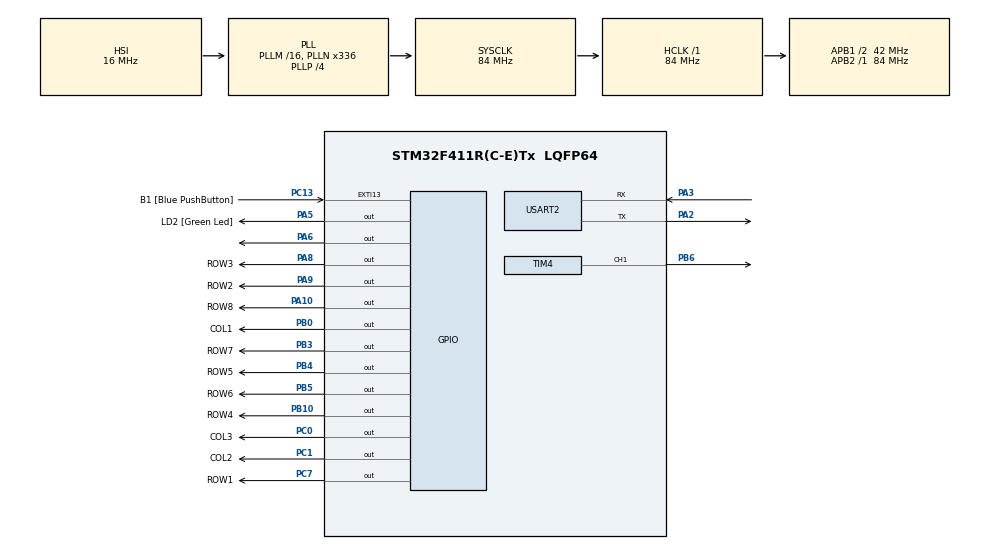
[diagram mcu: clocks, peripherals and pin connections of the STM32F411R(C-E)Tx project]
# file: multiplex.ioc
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Dma.Request0=TIM4_CH1
Dma.TIM4_CH1.0.Direction=DMA_MEMORY_TO_PERIPH
Dma.TIM4_CH1.0.FIFOMode=DMA_FIFOMODE_DISABLE
Dma.TIM4_CH1.0.Instance=DMA1_Stream0
Dma.TIM4_CH1.0.MemDataAlignment=DMA_MDATAALIGN_HALFWORD
Dma.TIM4_CH1.0.MemInc=DMA_MINC_ENABLE
Dma.TIM4_CH1.0.Mode=DMA_NORMAL
Dma.TIM4_CH1.0.PeriphDataAlignment=DMA_PDATAALIGN_HALFWORD
Dma.TIM4_CH1.0.PeriphInc=DMA_PINC_DISABLE
Dma.TIM4_CH1.0.Priority=DMA_PRIORITY_LOW
Mcu.Family=STM32F4
Mcu.Name=STM32F411R(C-E)Tx
Mcu.Package=LQFP64
NVIC.DMA1_Stream0_IRQn=true\:0\:0\:false\:false\:true\:false\:true\:true
NVIC.PriorityGroup=NVIC_PRIORITYGROUP_0
NVIC.TIM3_IRQn=true\:0\:0\:false\:false\:true\:true\:true\:true
NVIC.USART2_IRQn=true\:0\:0\:false\:false\:true\:true\:true\:true
PA10.GPIO_Label=ROW8
PA10.Signal=GPIO_Output
PA13.GPIO_Label=TMS
PA13.Signal=SYS_JTMS-SWDIO
PA14.GPIO_Label=TCK
PA14.Signal=SYS_JTCK-SWCLK
PA2.Mode=Asynchronous
PA2.Signal=USART2_TX
PA3.Mode=Asynchronous
PA3.Signal=USART2_RX
PA5.GPIO_Label=LD2 [Green Led]
PA5.Signal=GPIO_Output
PA6.Signal=GPIO_Output
PA8.GPIO_Label=ROW3
PA8.Signal=GPIO_Output
PA9.GPIO_Label=ROW2
PA9.Signal=GPIO_Output
PB0.GPIO_Label=COL1
PB0.Signal=GPIO_Output
PB10.GPIO_Label=ROW4
PB10.Signal=GPIO_Output
PB3.GPIO_Label=ROW7
PB3.Signal=GPIO_Output
PB4.GPIO_Label=ROW5
PB4.Signal=GPIO_Output
PB5.GPIO_Label=ROW6
PB5.Signal=GPIO_Output
PB6.Signal=S_TIM4_CH1
PC0.GPIO_Label=COL3
PC0.Signal=GPIO_Output
PC1.GPIO_Label=COL2
PC1.Signal=GPIO_Output
PC13-ANTI_TAMP.GPIO_Label=B1 [Blue PushButton]
PC13-ANTI_TAMP.GPIO_ModeDefaultEXTI=GPIO_MODE_IT_FALLING
PC13-ANTI_TAMP.Signal=GPXTI13
PC14-OSC32_IN.Signal=RCC_OSC32_IN
PC15-OSC32_OUT.Signal=RCC_OSC32_OUT
PC7.GPIO_Label=ROW1
PC7.Signal=GPIO_Output
PH0\ -\ OSC_IN.Signal=RCC_OSC_IN
PH1\ -\ OSC_OUT.Signal=RCC_OSC_OUT
ProjectManager.HeapSize=0x200
ProjectManager.StackSize=0x400
ProjectManager.TargetToolchain=STM32CubeIDE
RCC.48MHZClocksFreq_Value=84000000
RCC.AHBFreq_Value=84000000
RCC.APB1CLKDivider=RCC_HCLK_DIV2
RCC.APB1Freq_Value=42000000
RCC.APB1TimFreq_Value=84000000
RCC.APB2Freq_Value=84000000
RCC.APB2TimFreq_Value=84000000
RCC.CortexFreq_Value=84000000
RCC.FLatency-AdvancedSettings=FLASH_LATENCY_2
RCC.HCLKFreq_Value=84000000
RCC.HSE_VALUE=8000000
RCC.HSI_VALUE=16000000
RCC.LSE_VALUE=32768
RCC.PLLN=336
RCC.PLLP=RCC_PLLP_DIV4
RCC.SYSCLKFreq_VALUE=84000000
RCC.SYSCLKSource=RCC_SYSCLKSOURCE_PLLCLK
RCC.VCOOutputFreq_Value=336000000
SH.S_TIM4_CH1.0=TIM4_CH1,PWM Generation1 CH1
TIM3.AutoReloadPreload=TIM_AUTORELOAD_PRELOAD_ENABLE
TIM3.Prescaler=0
TIM4.Channel-PWM\ Generation1\ CH1=TIM_CHANNEL_1
TIM4.Period=105-1
USART2.VirtualMode=VM_ASYNC
VP_TIM3_VS_ClockSourceINT.Mode=Internal
VP_TIM4_VS_ClockSourceINT.Mode=Internal
board=NUCLEO-F411RE

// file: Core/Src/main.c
/* USER CODE BEGIN Header */
/**
  ******************************************************************************
  * @file           : main.c
  * @brief          : Main program body
  ******************************************************************************
  * @attention
  *
  * Copyright (c) 2026 STMicroelectronics.
  * All rights reserved.
  *
  * This software is licensed under terms that can be found in the LICENSE file
  * in the root directory of this software component.
  * If no LICENSE file comes with this software, it is provided AS-IS.
  *
  ******************************************************************************
  */
/* USER CODE END Header */
#include "main.h"

/* USER CODE BEGIN Includes */
#include <stdio.h>
#include <string.h>
/* USER CODE END Includes */

/* USER CODE BEGIN PD */
#define LED_NUM 64
#define PWM_DATA_SIZE 24*LED_NUM+50
#define RED 0
#define GREEN 1
#define BLUE 2
/* USER CODE END PD */

TIM_HandleTypeDef htim3;
TIM_HandleTypeDef htim4;
DMA_HandleTypeDef hdma_tim4_ch1;

UART_HandleTypeDef huart2;

/* USER CODE BEGIN PV */
uint8_t rx_byte;
uint8_t rx_buff[4] = {0x00, 0x00, 0x00, 0xFF};
uint16_t rx_idx = 0;

const uint16_t ROW_PIN[8] = {
  ROW8_Pin,
  ROW7_Pin,
  ROW6_Pin,
  ROW5_Pin,
  ROW4_Pin,
  ROW3_Pin,
  ROW2_Pin,
  ROW1_Pin,
};

const GPIO_TypeDef* ROW_PORT[8] = {
  ROW8_GPIO_Port,
  ROW7_GPIO_Port,
  ROW6_GPIO_Port,
  ROW5_GPIO_Port,
  ROW4_GPIO_Port,
  ROW3_GPIO_Port,
  ROW2_GPIO_Port,
  ROW1_GPIO_Port,
};

const uint16_t COL_PIN[3] = {
  COL1_Pin,
  COL2_Pin,
  COL3_Pin,
};

const GPIO_TypeDef* COL_PORT[3] = {
  COL1_GPIO_Port,
  COL2_GPIO_Port,
  COL3_GPIO_Port,
};

volatile uint8_t current_row = 0;

uint8_t frame_buff[3] = {
		0x00,
		0x00,
		0x00
};

uint16_t pwm_data[PWM_DATA_SIZE];

uint8_t LED_Data[LED_NUM][3];

uint8_t led_data_sent = 0;

uint8_t matrix[8] = {
	  0b00011000,
	  0b00100100,
	  0b00100100,
	  0b00100100,
	  0b00100100,
	  0b01100110,
	  0b10011001,
	  0b01100110,
};

/* USER CODE END PV */

void SystemClock_Config(void);
static void MX_GPIO_Init(void);
static void MX_DMA_Init(void);
static void MX_USART2_UART_Init(void);
static void MX_TIM3_Init(void);
static void MX_TIM4_Init(void);
/* USER CODE BEGIN PFP */
static inline uint8_t map(uint8_t value, uint8_t in_min, uint8_t in_max, uint8_t out_min, uint8_t out_max);
static inline uint8_t map_byte(uint8_t value, uint8_t in_min, uint8_t in_max, uint8_t out_min, uint8_t out_max);
void gauge(const uint8_t val, const uint8_t col, const uint8_t level_min,  const uint8_t level_max);
void matrix_display(const uint8_t setup[8][3]);
void send_ws();
void set_led(const uint8_t led_index, const uint8_t r, const uint8_t g, const uint8_t b, const uint8_t brightness);
void set_led_matrix64(const uint8_t data[8], const uint32_t colorHEX, const uint8_t brightness);
/* USER CODE END PFP */

int main(void)
{

  /* MCU Configuration--------------------------------------------------------*/

  /* Reset of all peripherals, Initializes the Flash interface and the Systick. */
  HAL_Init();

  /* Configure the system clock */
  SystemClock_Config();

  /* Initialize all configured peripherals */
  MX_GPIO_Init();
  MX_DMA_Init();
  MX_USART2_UART_Init();
  MX_TIM3_Init();
  MX_TIM4_Init();
  /* USER CODE BEGIN 2 */
  HAL_UART_Receive_IT(&huart2, &rx_byte, 1);
  HAL_TIM_Base_Start_IT(&htim3);

  HAL_GPIO_WritePin(COL1_GPIO_Port, COL1_Pin, 1);
  HAL_GPIO_WritePin(COL2_GPIO_Port, COL2_Pin, 1);
  HAL_GPIO_WritePin(COL3_GPIO_Port, COL3_Pin, 1);

  HAL_GPIO_WritePin(ROW1_GPIO_Port, ROW1_Pin, 1);
  HAL_GPIO_WritePin(ROW2_GPIO_Port, ROW2_Pin, 1);
  HAL_GPIO_WritePin(ROW3_GPIO_Port, ROW3_Pin, 1);
  HAL_GPIO_WritePin(ROW4_GPIO_Port, ROW4_Pin, 1);
  HAL_GPIO_WritePin(ROW5_GPIO_Port, ROW5_Pin, 1);
  HAL_GPIO_WritePin(ROW6_GPIO_Port, ROW6_Pin, 1);
  HAL_GPIO_WritePin(ROW7_GPIO_Port, ROW7_Pin, 1);
  HAL_GPIO_WritePin(ROW8_GPIO_Port, ROW8_Pin, 1);

//  set_led_matrix64(matrix, 0xff1493, 10);

//  send_ws();

  /* USER CODE END 2 */

  /* Infinite loop */
  /* USER CODE BEGIN WHILE */

  uint8_t buffer[16];

  memcpy(buffer, matrix, 8);

  memset(buffer + 8, 0x00, 8);

  int step = 0;
  while (1)
  {
	    for (int i = 0; i < 8; i++) {
	        matrix[i] = buffer[(step + i) % 16];
	    }

	    set_led_matrix64(matrix, 0xff1493, 10);
	    send_ws();
	    HAL_Delay(200);

	    step++;
	    if (step >= 16) step = 0;

    /* USER CODE END WHILE */

  }
}

void SystemClock_Config(void)
{
  RCC_OscInitTypeDef RCC_OscInitStruct = {0};
  RCC_ClkInitTypeDef RCC_ClkInitStruct = {0};

  /** Configure the main internal regulator output voltage
  */
  __HAL_RCC_PWR_CLK_ENABLE();
  __HAL_PWR_VOLTAGESCALING_CONFIG(PWR_REGULATOR_VOLTAGE_SCALE1);

  /** Initializes the RCC Oscillators according to the specified parameters
  * in the RCC_OscInitTypeDef structure.
  */
  RCC_OscInitStruct.OscillatorType = RCC_OSCILLATORTYPE_HSI;
  RCC_OscInitStruct.HSIState = RCC_HSI_ON;
  RCC_OscInitStruct.HSICalibrationValue = RCC_HSICALIBRATION_DEFAULT;
  RCC_OscInitStruct.PLL.PLLState = RCC_PLL_ON;
  RCC_OscInitStruct.PLL.PLLSource = RCC_PLLSOURCE_HSI;
  RCC_OscInitStruct.PLL.PLLM = 16;
  RCC_OscInitStruct.PLL.PLLN = 336;
  RCC_OscInitStruct.PLL.PLLP = RCC_PLLP_DIV4;
  RCC_OscInitStruct.PLL.PLLQ = 4;
  if (HAL_RCC_OscConfig(&RCC_OscInitStruct) != HAL_OK)
  {
    Error_Handler();
  }

  /** Initializes the CPU, AHB and APB buses clocks
  */
  RCC_ClkInitStruct.ClockType = RCC_CLOCKTYPE_HCLK|RCC_CLOCKTYPE_SYSCLK
                              |RCC_CLOCKTYPE_PCLK1|RCC_CLOCKTYPE_PCLK2;
  RCC_ClkInitStruct.SYSCLKSource = RCC_SYSCLKSOURCE_PLLCLK;
  RCC_ClkInitStruct.AHBCLKDivider = RCC_SYSCLK_DIV1;
  RCC_ClkInitStruct.APB1CLKDivider = RCC_HCLK_DIV2;
  RCC_ClkInitStruct.APB2CLKDivider = RCC_HCLK_DIV1;

  if (HAL_RCC_ClockConfig(&RCC_ClkInitStruct, FLASH_LATENCY_2) != HAL_OK)
  {
    Error_Handler();
  }
}

static void MX_TIM3_Init(void)
{

  TIM_ClockConfigTypeDef sClockSourceConfig = {0};
  TIM_MasterConfigTypeDef sMasterConfig = {0};

  htim3.Instance = TIM3;
  htim3.Init.Prescaler = 0;
  htim3.Init.CounterMode = TIM_COUNTERMODE_UP;
  htim3.Init.Period = 65535;
  htim3.Init.ClockDivision = TIM_CLOCKDIVISION_DIV1;
  htim3.Init.AutoReloadPreload = TIM_AUTORELOAD_PRELOAD_ENABLE;
  if (HAL_TIM_Base_Init(&htim3) != HAL_OK)
  {
    Error_Handler();
  }
  sClockSourceConfig.ClockSource = TIM_CLOCKSOURCE_INTERNAL;
  if (HAL_TIM_ConfigClockSource(&htim3, &sClockSourceConfig) != HAL_OK)
  {
    Error_Handler();
  }
  sMasterConfig.MasterOutputTrigger = TIM_TRGO_RESET;
  sMasterConfig.MasterSlaveMode = TIM_MASTERSLAVEMODE_DISABLE;
  if (HAL_TIMEx_MasterConfigSynchronization(&htim3, &sMasterConfig) != HAL_OK)
  {
    Error_Handler();
  }

}

static void MX_TIM4_Init(void)
{

  TIM_ClockConfigTypeDef sClockSourceConfig = {0};
  TIM_MasterConfigTypeDef sMasterConfig = {0};
  TIM_OC_InitTypeDef sConfigOC = {0};

  htim4.Instance = TIM4;
  htim4.Init.Prescaler = 0;
  htim4.Init.CounterMode = TIM_COUNTERMODE_UP;
  htim4.Init.Period = 105-1;
  htim4.Init.ClockDivision = TIM_CLOCKDIVISION_DIV1;
  htim4.Init.AutoReloadPreload = TIM_AUTORELOAD_PRELOAD_DISABLE;
  if (HAL_TIM_Base_Init(&htim4) != HAL_OK)
  {
    Error_Handler();
  }
  sClockSourceConfig.ClockSource = TIM_CLOCKSOURCE_INTERNAL;
  if (HAL_TIM_ConfigClockSource(&htim4, &sClockSourceConfig) != HAL_OK)
  {
    Error_Handler();
  }
  if (HAL_TIM_PWM_Init(&htim4) != HAL_OK)
  {
    Error_Handler();
  }
  sMasterConfig.MasterOutputTrigger = TIM_TRGO_RESET;
  sMasterConfig.MasterSlaveMode = TIM_MASTERSLAVEMODE_DISABLE;
  if (HAL_TIMEx_MasterConfigSynchronization(&htim4, &sMasterConfig) != HAL_OK)
  {
    Error_Handler();
  }
  sConfigOC.OCMode = TIM_OCMODE_PWM1;
  sConfigOC.Pulse = 0;
  sConfigOC.OCPolarity = TIM_OCPOLARITY_HIGH;
  sConfigOC.OCFastMode = TIM_OCFAST_DISABLE;
  if (HAL_TIM_PWM_ConfigChannel(&htim4, &sConfigOC, TIM_CHANNEL_1) != HAL_OK)
  {
    Error_Handler();
  }
  HAL_TIM_MspPostInit(&htim4);

}

static void MX_USART2_UART_Init(void)
{

  huart2.Instance = USART2;
  huart2.Init.BaudRate = 115200;
  huart2.Init.WordLength = UART_WORDLENGTH_8B;
  huart2.Init.StopBits = UART_STOPBITS_1;
  huart2.Init.Parity = UART_PARITY_NONE;
  huart2.Init.Mode = UART_MODE_TX_RX;
  huart2.Init.HwFlowCtl = UART_HWCONTROL_NONE;
  huart2.Init.OverSampling = UART_OVERSAMPLING_16;
  if (HAL_UART_Init(&huart2) != HAL_OK)
  {
    Error_Handler();
  }

}

static void MX_DMA_Init(void)
{

  /* DMA controller clock enable */
  __HAL_RCC_DMA1_CLK_ENABLE();

  /* DMA interrupt init */
  /* DMA1_Stream0_IRQn interrupt configuration */
  HAL_NVIC_SetPriority(DMA1_Stream0_IRQn, 0, 0);
  HAL_NVIC_EnableIRQ(DMA1_Stream0_IRQn);

}

static void MX_GPIO_Init(void)
{
  GPIO_InitTypeDef GPIO_InitStruct = {0};

  /* GPIO Ports Clock Enable */
  __HAL_RCC_GPIOC_CLK_ENABLE();
  __HAL_RCC_GPIOH_CLK_ENABLE();
  __HAL_RCC_GPIOA_CLK_ENABLE();
  __HAL_RCC_GPIOB_CLK_ENABLE();

  /*Configure GPIO pin Output Level */
  HAL_GPIO_WritePin(GPIOC, COL3_Pin|COL2_Pin|ROW1_Pin, GPIO_PIN_RESET);

  /*Configure GPIO pin Output Level */
  HAL_GPIO_WritePin(GPIOA, LD2_Pin|GPIO_PIN_6|ROW3_Pin|ROW2_Pin
                          |ROW8_Pin, GPIO_PIN_RESET);

  /*Configure GPIO pin Output Level */
  HAL_GPIO_WritePin(GPIOB, COL1_Pin|ROW4_Pin|ROW7_Pin|ROW5_Pin
                          |ROW6_Pin, GPIO_PIN_RESET);

  /*Configure GPIO pin : B1_Pin */
  GPIO_InitStruct.Pin = B1_Pin;
  GPIO_InitStruct.Mode = GPIO_MODE_IT_FALLING;
  GPIO_InitStruct.Pull = GPIO_NOPULL;
  HAL_GPIO_Init(B1_GPIO_Port, &GPIO_InitStruct);

  /*Configure GPIO pins : COL3_Pin COL2_Pin ROW1_Pin */
  GPIO_InitStruct.Pin = COL3_Pin|COL2_Pin|ROW1_Pin;
  GPIO_InitStruct.Mode = GPIO_MODE_OUTPUT_PP;
  GPIO_InitStruct.Pull = GPIO_NOPULL;
  GPIO_InitStruct.Speed = GPIO_SPEED_FREQ_LOW;
  HAL_GPIO_Init(GPIOC, &GPIO_InitStruct);

  /*Configure GPIO pins : LD2_Pin PA6 ROW3_Pin ROW2_Pin
                           ROW8_Pin */
  GPIO_InitStruct.Pin = LD2_Pin|GPIO_PIN_6|ROW3_Pin|ROW2_Pin
                          |ROW8_Pin;
  GPIO_InitStruct.Mode = GPIO_MODE_OUTPUT_PP;
  GPIO_InitStruct.Pull = GPIO_NOPULL;
  GPIO_InitStruct.Speed = GPIO_SPEED_FREQ_LOW;
  HAL_GPIO_Init(GPIOA, &GPIO_InitStruct);

  /*Configure GPIO pins : COL1_Pin ROW4_Pin ROW7_Pin ROW5_Pin
                           ROW6_Pin */
  GPIO_InitStruct.Pin = COL1_Pin|ROW4_Pin|ROW7_Pin|ROW5_Pin
                          |ROW6_Pin;
  GPIO_InitStruct.Mode = GPIO_MODE_OUTPUT_PP;
  GPIO_InitStruct.Pull = GPIO_NOPULL;
  GPIO_InitStruct.Speed = GPIO_SPEED_FREQ_LOW;
  HAL_GPIO_Init(GPIOB, &GPIO_InitStruct);

}

/* USER CODE BEGIN 4 */
void HAL_UART_RxCpltCallback(UART_HandleTypeDef *huart)
{
  if (huart->Instance == USART2 && rx_byte >= 0x00)
  {
    char tx_buf[10];
    int len = 0x00;
    if(rx_byte != 0xFF){
    	len = snprintf(tx_buf, sizeof(tx_buf), "ACK: %d\r\n", rx_byte);
    } else {
    	len = snprintf(tx_buf, sizeof(tx_buf), "END ACK\r\n");
    }
    		 //    gauge(rx_byte, 0, 30, 97);
    rx_buff[0] = rx_buff[1];
    rx_buff[1] = rx_buff[2];
    rx_buff[2] = rx_buff[3];
    rx_buff[3] = rx_byte;

    if(rx_buff[3] == 0xFF){
    	frame_buff[0] = map_byte(rx_buff[0], 30, 97, 1, 8);
    	frame_buff[1] = map_byte(rx_buff[1], 0, 100, 1, 8);
    	frame_buff[2] = map_byte(rx_buff[2], 0, 100, 1, 8);
    }
    HAL_UART_Transmit(&huart2, (uint8_t *)tx_buf, len, HAL_MAX_DELAY);

    // Re-arm for next byte
    HAL_UART_Receive_IT(&huart2, &rx_byte, 1);
  }
}

void HAL_TIM_PeriodElapsedCallback(TIM_HandleTypeDef *htim){
	if (htim->Instance == TIM3) {
		HAL_GPIO_WritePin(ROW_PORT[current_row], ROW_PIN[current_row], 1);
		current_row = (current_row + 1) % 8;

		for(int col = 0; col < 3; col++){
			uint8_t curr_buff = frame_buff[col] >> current_row & 1;
			HAL_GPIO_WritePin(COL_PORT[col], COL_PIN[col], curr_buff);
		}
	    HAL_GPIO_WritePin(ROW_PORT[current_row], ROW_PIN[current_row], 0);
	}
}

void gauge(const uint8_t val, const uint8_t col, const uint8_t level_min,  const uint8_t level_max){
  HAL_GPIO_WritePin(COL_PORT[0], ROW_PIN[0], 1);
  HAL_GPIO_WritePin(COL_PORT[0], ROW_PIN[0], 1);
  HAL_GPIO_WritePin(COL_PORT[0], ROW_PIN[0], 1);

  uint8_t level = map(val, level_min, level_max, 0, 8);
  for(uint8_t i = 0; i < 8; i++){
	  if(i < level){
		  HAL_GPIO_WritePin(ROW_PORT[i], ROW_PIN[i], 0);
	  }
	  else{
		  HAL_GPIO_WritePin(ROW_PORT[i], ROW_PIN[i], 1);
	  }
  }
}

static inline uint8_t map(uint8_t value, uint8_t in_min, uint8_t in_max, uint8_t out_min, uint8_t out_max){
	return (value - in_min) * (out_max - out_min) / (in_max - in_min) + out_min;
}

static inline uint8_t map_byte(uint8_t value, uint8_t in_min, uint8_t in_max, uint8_t out_min, uint8_t out_max){
	return (1 << map(value, in_min, in_max, out_min, out_max)) - 1;
}

void send_ws(){
	uint32_t idx = 0;
	uint32_t data;

	for (int i = 0; i < LED_NUM; i++) {
		data = (LED_Data[i][1] << 16) | (LED_Data[i][0] << 8) | LED_Data[i][2];

		for (int n = 23; n >= 0; n--) {
			if(data & (1 << n)) pwm_data[idx] = 71; // 2/3 105
			else pwm_data[idx] = 34; // 1/3 105
			idx++;
		}
	}

	for (int p = 0; p < 50; p++) {
		pwm_data[idx] = 0;
		idx++;
	}

	HAL_TIM_PWM_Start_DMA(&htim4, TIM_CHANNEL_1, (uint32_t *)pwm_data, PWM_DATA_SIZE);
	while(!led_data_sent) {};
	led_data_sent = 0;
}

void HAL_TIM_PWM_PulseFinishedCallback(TIM_HandleTypeDef *htim){
	HAL_TIM_PWM_Stop_DMA(&htim4, TIM_CHANNEL_1);
	led_data_sent = 1;
}

void set_led(const uint8_t led_index, const uint8_t r, const uint8_t g, const uint8_t b, const uint8_t brightness){
	float mul = (float)brightness / 255.0f;
	LED_Data[led_index][0] = r*mul;
	LED_Data[led_index][1] = g*mul;
	LED_Data[led_index][2] = b*mul;
}

void set_led_matrix64(const uint8_t rows[8], const uint32_t colorHEX, const uint8_t brightness){
	for (int i = 0; i < 64; ++i) {
		if((rows[i/8] >> i%8 & 1) == 1){
			set_led(i, (uint8_t)(colorHEX >> 16), (uint8_t)(colorHEX >> 8), (uint8_t)(colorHEX), brightness);
		}
		else {
			set_led(i, 0, 0, 0, 0);
		}
	}
}

/* USER CODE END 4 */

void Error_Handler(void)
{
  __disable_irq();
  while (1)
  {
  }
}
